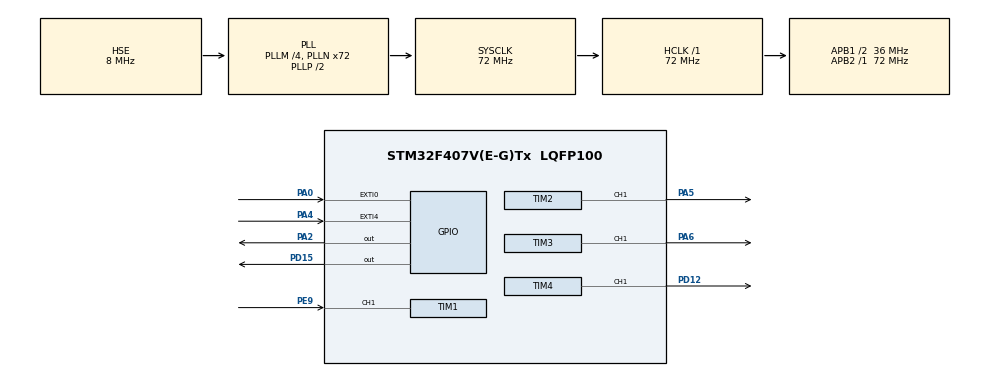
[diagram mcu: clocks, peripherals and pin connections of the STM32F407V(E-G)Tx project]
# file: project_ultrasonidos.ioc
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ADC1.Channel-0\#ChannelRegularConversion=ADC_CHANNEL_TEMPSENSOR
ADC1.ContinuousConvMode=ENABLE
ADC1.NbrOfConversionFlag=1
ADC1.Rank-0\#ChannelRegularConversion=1
ADC1.Resolution=ADC_RESOLUTION_8B
ADC1.SamplingTime-0\#ChannelRegularConversion=ADC_SAMPLETIME_3CYCLES
ADC1.ScanConvMode=ENABLE
ADC1.master=1
Mcu.Family=STM32F4
Mcu.Name=STM32F407V(E-G)Tx
Mcu.Package=LQFP100
NVIC.EXTI0_IRQn=true\:0\:0\:false\:false\:true\:true\:true
NVIC.EXTI4_IRQn=true\:0\:0\:false\:false\:true\:true\:true
NVIC.PriorityGroup=NVIC_PRIORITYGROUP_0
NVIC.TIM1_CC_IRQn=true\:0\:0\:false\:false\:true\:true\:true
PA0-WKUP.Signal=GPXTI0
PA2.Signal=GPIO_Output
PA4.Signal=GPXTI4
PA5.Signal=S_TIM2_CH1_ETR
PA6.Signal=S_TIM3_CH1
PD12.Signal=S_TIM4_CH1
PD15.Signal=GPIO_Output
PE9.Signal=S_TIM1_CH1
PH0-OSC_IN.Mode=HSE-External-Oscillator
PH0-OSC_IN.Signal=RCC_OSC_IN
PH1-OSC_OUT.Mode=HSE-External-Oscillator
PH1-OSC_OUT.Signal=RCC_OSC_OUT
ProjectManager.HeapSize=0x200
ProjectManager.StackSize=0x400
ProjectManager.TargetToolchain=STM32CubeIDE
RCC.48MHZClocksFreq_Value=20571428.57142857
RCC.AHBFreq_Value=72000000
RCC.APB1CLKDivider=RCC_HCLK_DIV2
RCC.APB1Freq_Value=36000000
RCC.APB1TimFreq_Value=72000000
RCC.APB2Freq_Value=72000000
RCC.APB2TimFreq_Value=72000000
RCC.CortexFreq_Value=72000000
RCC.HCLKFreq_Value=72000000
RCC.HSE_VALUE=8000000
RCC.HSI_VALUE=16000000
RCC.LSE_VALUE=32768
RCC.PLLM=4
RCC.PLLN=72
RCC.PLLQ=7
RCC.PLLSourceVirtual=RCC_PLLSOURCE_HSE
RCC.SYSCLKFreq_VALUE=72000000
RCC.SYSCLKSource=RCC_SYSCLKSOURCE_PLLCLK
RCC.VCOOutputFreq_Value=144000000
SH.S_TIM1_CH1.0=TIM1_CH1,Input_Capture1_from_TI1
SH.S_TIM2_CH1_ETR.0=TIM2_CH1,PWM Generation1 CH1
SH.S_TIM3_CH1.0=TIM3_CH1,PWM Generation1 CH1
SH.S_TIM4_CH1.0=TIM4_CH1,PWM Generation1 CH1
TIM1.Channel-Input_Capture1_from_TI1=TIM_CHANNEL_1
TIM1.Period=20000-1
TIM1.Prescaler=72-1
TIM2.Channel-PWM\ Generation1\ CH1=TIM_CHANNEL_1
TIM2.Period=3922
TIM2.Prescaler=72-1
TIM3.Channel-PWM\ Generation1\ CH1=TIM_CHANNEL_1
TIM3.Period=3922
TIM3.Prescaler=72-1
TIM4.Channel-PWM\ Generation1\ CH1=TIM_CHANNEL_1
TIM4.Period=3922
TIM4.Prescaler=72-1
TIM4.Pulse-PWM\ Generation1\ CH1=0
VP_ADC1_TempSens_Input.Mode=IN-TempSens
VP_TIM2_VS_ClockSourceINT.Mode=Internal
VP_TIM3_VS_ClockSourceINT.Mode=Internal
VP_TIM4_VS_ClockSourceINT.Mode=Internal
board=STM32F407G-DISC1

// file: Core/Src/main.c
/* USER CODE BEGIN Header */
/**
  ******************************************************************************
  * @file           : main.c
  * @brief          : Main program body
  ******************************************************************************
  * @attention
  *
  * Copyright (c) 2021 STMicroelectronics.
  * All rights reserved.
  *
  * This software is licensed under terms that can be found in the LICENSE file
  * in the root directory of this software component.
  * If no LICENSE file comes with this software, it is provided AS-IS.
  *
  ******************************************************************************
  */
/* USER CODE END Header */
#include "main.h"

ADC_HandleTypeDef hadc1;

TIM_HandleTypeDef htim1;
TIM_HandleTypeDef htim2;
TIM_HandleTypeDef htim3;
TIM_HandleTypeDef htim4;

void SystemClock_Config(void);
static void MX_GPIO_Init(void);
static void MX_TIM1_Init(void);
static void MX_TIM4_Init(void);
static void MX_TIM2_Init(void);
static void MX_TIM3_Init(void);
static void MX_ADC1_Init(void);

/* USER CODE BEGIN 0 */

void delay (uint16_t time) //función para hacer el delay en el ultrasonidos. Cambiar por hilos????
{
	__HAL_TIM_SET_COUNTER(&htim1, 0);
	while (__HAL_TIM_GET_COUNTER (&htim1) < time);
}

uint32_t IC_Val1 = 0;
uint32_t IC_Val2 = 0;
uint32_t Difference = 0;
uint8_t Is_First_Captured = 0;  // is the first value captured ?
uint8_t Distance  = 0;
uint32_t ton=0;
int encendido=0;

volatile uint32_t adcvalue;
float temp=0;

volatile int user=0,boton1=0;

int debouncer(volatile int* button, GPIO_TypeDef* GPIO_port, uint16_t GPIO_number){//Antirrebotes
	static uint8_t cb=0; //variable para llevar la cuenta del boton
	static int cuenta=0;

	if (*button==1){
		if (cb==0) {
			cuenta=HAL_GetTick();
			cb++;
		}
		if (HAL_GetTick()-cuenta>=20){
			cuenta=HAL_GetTick();
			if (HAL_GPIO_ReadPin(GPIO_port, GPIO_number)!=1){
				cb=1;
			}
			else{
				cb++;
			}
			if (cb==3){
				cb=0;
				*button=0;
				return 1;
			}
		}

	}
	return 0;
}

void HAL_GPIO_EXTI_Callback(uint16_t GPIO_pin)
{
	if(GPIO_pin==GPIO_PIN_4)//boton simulado con pines
	{
		boton1=1;
	}

	if(GPIO_pin==GPIO_PIN_0){//boton simulado con el user
		user=1;
	}
}

//funcion codigo video ultrasonidos.
void HAL_TIM_IC_CaptureCallback(TIM_HandleTypeDef *htim) {
	if (htim->Channel == HAL_TIM_ACTIVE_CHANNEL_1)
	{
		if (Is_First_Captured==0)
		{
			IC_Val1 = HAL_TIM_ReadCapturedValue(htim, TIM_CHANNEL_1); //lee el primer valor
			Is_First_Captured = 1;  // selecciona la primera captura
			__HAL_TIM_SET_CAPTUREPOLARITY(htim, TIM_CHANNEL_1, TIM_INPUTCHANNELPOLARITY_FALLING);
		}

		else if (Is_First_Captured==1)   // si ha leido el primer valor
		{
			IC_Val2 = HAL_TIM_ReadCapturedValue(htim, TIM_CHANNEL_1);  // lee el segundo valor
			__HAL_TIM_SET_COUNTER(htim, 0);  // reset the counter

			if (IC_Val2 > IC_Val1)
			{
				Difference = IC_Val2-IC_Val1;
			}

			else if (IC_Val1 > IC_Val2)
			{
				Difference = (0xffff - IC_Val1) + IC_Val2;
			}

			Distance = Difference * .034/2;//conversion a centimetros
			Is_First_Captured = 0;
			__HAL_TIM_SET_CAPTUREPOLARITY(htim, TIM_CHANNEL_1, TIM_INPUTCHANNELPOLARITY_RISING);
			__HAL_TIM_DISABLE_IT(&htim1, TIM_IT_CC1);
		}
	}
}

void HCSR04_Read (void) //Función de lectura del ultrasonidos
{
	HAL_GPIO_WritePin(GPIOA, GPIO_PIN_2, GPIO_PIN_SET); //Se envia pulso a la patilla trig del ultrasonidos
	delay(5);
	HAL_GPIO_WritePin(GPIOA, GPIO_PIN_2, GPIO_PIN_RESET);

	__HAL_TIM_ENABLE_IT(&htim1, TIM_IT_CC1);
}

void HAL_ADC_ConvCpltCallback(ADC_HandleTypeDef*hadc);

/* USER CODE END 0 */

int main(void)
{

  /* MCU Configuration--------------------------------------------------------*/

  /* Reset of all peripherals, Initializes the Flash interface and the Systick. */
  HAL_Init();

  /* Configure the system clock */
  SystemClock_Config();

  /* Initialize all configured peripherals */
  MX_GPIO_Init();
  MX_TIM1_Init();
  MX_TIM4_Init();
  MX_TIM2_Init();
  MX_TIM3_Init();
  MX_ADC1_Init();
  /* USER CODE BEGIN 2 */

  HAL_TIM_IC_Start_IT(&htim1, TIM_CHANNEL_1);
  HAL_TIM_PWM_Start(&htim4, TIM_CHANNEL_1);
  HAL_TIM_PWM_Start(&htim2,TIM_CHANNEL_1);
  HAL_TIM_PWM_Start(&htim3,TIM_CHANNEL_1);
  HAL_ADC_Start(&hadc1);

  /* USER CODE END 2 */

  /* Infinite loop */
  while (1)
  {

    /* USER CODE BEGIN 3 */
	  /*HCSR04_Read();
	  if(Distance<10)
	  {
		  HAL_GPIO_WritePin(GPIOD, GPIO_PIN_12, GPIO_PIN_SET);
		  HAL_Delay(10000);
		  HAL_GPIO_WritePin(GPIOD, GPIO_PIN_12, GPIO_PIN_RESET);
		  HAL_Delay(1000);
	  }
	  HAL_Delay(200);*/

	  HCSR04_Read(); //Se lee el valor del ultrasonidos
	  	HAL_Delay(100);

	  	if(HAL_GetTick()<1)//Encendemos led verde de primeras
	  	{
	  		__HAL_TIM_SET_COMPARE(&htim2, TIM_CHANNEL_1, 500);
	  	}

	  	//Si la distancia es menor que 15 centimetros apagamos led de emergencia y se encienden luces
	  	if(Distance<15)
	  	{
	  		ton=HAL_GetTick();
	  		__HAL_TIM_SET_COMPARE(&htim2, TIM_CHANNEL_1, 0);
	  		__HAL_TIM_SET_COMPARE(&htim4, TIM_CHANNEL_1, 500);
	  		__HAL_TIM_SET_COMPARE(&htim3, TIM_CHANNEL_1, 500);
	  		encendido=1;
	  	}

	  	if(encendido==1)
	  	{
	  		if(HAL_GetTick()-ton>15000||(debouncer(boton1,GPIOA,GPIO_PIN_4))==1){ //si pasan 15 s o pulso el botón, apago luces y enciendo emergencia
	  		__HAL_TIM_SET_COMPARE(&htim4, TIM_CHANNEL_1, 0);
	  		__HAL_TIM_SET_COMPARE(&htim3, TIM_CHANNEL_1, 0);
	  		ton=0;
	  		encendido=0;
	  		__HAL_TIM_SET_COMPARE(&htim2, TIM_CHANNEL_1, 500);
	  		}
	  	}

	  	if((debouncer(&user,GPIOA,GPIO_PIN_0))==1)
	  	{
	  		__HAL_TIM_SET_COMPARE(&htim2, TIM_CHANNEL_1, 0);
	  		__HAL_TIM_SET_COMPARE(&htim4, TIM_CHANNEL_1, 500);
	  		__HAL_TIM_SET_COMPARE(&htim3, TIM_CHANNEL_1, 500);
	  		ton=HAL_GetTick();
	  		encendido=1;
	  	}

	  	if(HAL_ADC_PollForConversion(&hadc1, 100) == HAL_OK)
	  	{
	  		adcvalue=HAL_ADC_GetValue(&hadc1);
	  		temp=1650.0/((float)adcvalue);
	  	}
	  	if(temp<30)
	  		HAL_GPIO_WritePin(GPIOD, GPIO_PIN_15,1);
	  	else
	  		HAL_GPIO_WritePin(GPIOD, GPIO_PIN_15,0);
  }

  /* USER CODE END 3 */
}

void SystemClock_Config(void)
{
  RCC_OscInitTypeDef RCC_OscInitStruct = {0};
  RCC_ClkInitTypeDef RCC_ClkInitStruct = {0};

  /** Configure the main internal regulator output voltage
  */
  __HAL_RCC_PWR_CLK_ENABLE();
  __HAL_PWR_VOLTAGESCALING_CONFIG(PWR_REGULATOR_VOLTAGE_SCALE1);
  /** Initializes the RCC Oscillators according to the specified parameters
  * in the RCC_OscInitTypeDef structure.
  */
  RCC_OscInitStruct.OscillatorType = RCC_OSCILLATORTYPE_HSE;
  RCC_OscInitStruct.HSEState = RCC_HSE_ON;
  RCC_OscInitStruct.PLL.PLLState = RCC_PLL_ON;
  RCC_OscInitStruct.PLL.PLLSource = RCC_PLLSOURCE_HSE;
  RCC_OscInitStruct.PLL.PLLM = 4;
  RCC_OscInitStruct.PLL.PLLN = 72;
  RCC_OscInitStruct.PLL.PLLP = RCC_PLLP_DIV2;
  RCC_OscInitStruct.PLL.PLLQ = 7;
  if (HAL_RCC_OscConfig(&RCC_OscInitStruct) != HAL_OK)
  {
    Error_Handler();
  }
  /** Initializes the CPU, AHB and APB buses clocks
  */
  RCC_ClkInitStruct.ClockType = RCC_CLOCKTYPE_HCLK|RCC_CLOCKTYPE_SYSCLK
                              |RCC_CLOCKTYPE_PCLK1|RCC_CLOCKTYPE_PCLK2;
  RCC_ClkInitStruct.SYSCLKSource = RCC_SYSCLKSOURCE_PLLCLK;
  RCC_ClkInitStruct.AHBCLKDivider = RCC_SYSCLK_DIV1;
  RCC_ClkInitStruct.APB1CLKDivider = RCC_HCLK_DIV2;
  RCC_ClkInitStruct.APB2CLKDivider = RCC_HCLK_DIV1;

  if (HAL_RCC_ClockConfig(&RCC_ClkInitStruct, FLASH_LATENCY_2) != HAL_OK)
  {
    Error_Handler();
  }
}

static void MX_ADC1_Init(void)
{

  ADC_ChannelConfTypeDef sConfig = {0};

  /** Configure the global features of the ADC (Clock, Resolution, Data Alignment and number of conversion)
  */
  hadc1.Instance = ADC1;
  hadc1.Init.ClockPrescaler = ADC_CLOCK_SYNC_PCLK_DIV2;
  hadc1.Init.Resolution = ADC_RESOLUTION_8B;
  hadc1.Init.ScanConvMode = ENABLE;
  hadc1.Init.ContinuousConvMode = ENABLE;
  hadc1.Init.DiscontinuousConvMode = DISABLE;
  hadc1.Init.ExternalTrigConvEdge = ADC_EXTERNALTRIGCONVEDGE_NONE;
  hadc1.Init.ExternalTrigConv = ADC_SOFTWARE_START;
  hadc1.Init.DataAlign = ADC_DATAALIGN_RIGHT;
  hadc1.Init.NbrOfConversion = 1;
  hadc1.Init.DMAContinuousRequests = DISABLE;
  hadc1.Init.EOCSelection = ADC_EOC_SINGLE_CONV;
  if (HAL_ADC_Init(&hadc1) != HAL_OK)
  {
    Error_Handler();
  }
  /** Configure for the selected ADC regular channel its corresponding rank in the sequencer and its sample time.
  */
  sConfig.Channel = ADC_CHANNEL_TEMPSENSOR;
  sConfig.Rank = 1;
  sConfig.SamplingTime = ADC_SAMPLETIME_3CYCLES;
  if (HAL_ADC_ConfigChannel(&hadc1, &sConfig) != HAL_OK)
  {
    Error_Handler();
  }

}

static void MX_TIM1_Init(void)
{

  TIM_MasterConfigTypeDef sMasterConfig = {0};
  TIM_IC_InitTypeDef sConfigIC = {0};

  htim1.Instance = TIM1;
  htim1.Init.Prescaler = 72-1;
  htim1.Init.CounterMode = TIM_COUNTERMODE_UP;
  htim1.Init.Period = 20000-1;
  htim1.Init.ClockDivision = TIM_CLOCKDIVISION_DIV1;
  htim1.Init.RepetitionCounter = 0;
  htim1.Init.AutoReloadPreload = TIM_AUTORELOAD_PRELOAD_DISABLE;
  if (HAL_TIM_IC_Init(&htim1) != HAL_OK)
  {
    Error_Handler();
  }
  sMasterConfig.MasterOutputTrigger = TIM_TRGO_RESET;
  sMasterConfig.MasterSlaveMode = TIM_MASTERSLAVEMODE_DISABLE;
  if (HAL_TIMEx_MasterConfigSynchronization(&htim1, &sMasterConfig) != HAL_OK)
  {
    Error_Handler();
  }
  sConfigIC.ICPolarity = TIM_INPUTCHANNELPOLARITY_RISING;
  sConfigIC.ICSelection = TIM_ICSELECTION_DIRECTTI;
  sConfigIC.ICPrescaler = TIM_ICPSC_DIV1;
  sConfigIC.ICFilter = 0;
  if (HAL_TIM_IC_ConfigChannel(&htim1, &sConfigIC, TIM_CHANNEL_1) != HAL_OK)
  {
    Error_Handler();
  }

}

static void MX_TIM2_Init(void)
{

  TIM_ClockConfigTypeDef sClockSourceConfig = {0};
  TIM_MasterConfigTypeDef sMasterConfig = {0};
  TIM_OC_InitTypeDef sConfigOC = {0};

  htim2.Instance = TIM2;
  htim2.Init.Prescaler = 72-1;
  htim2.Init.CounterMode = TIM_COUNTERMODE_UP;
  htim2.Init.Period = 3922;
  htim2.Init.ClockDivision = TIM_CLOCKDIVISION_DIV1;
  htim2.Init.AutoReloadPreload = TIM_AUTORELOAD_PRELOAD_DISABLE;
  if (HAL_TIM_Base_Init(&htim2) != HAL_OK)
  {
    Error_Handler();
  }
  sClockSourceConfig.ClockSource = TIM_CLOCKSOURCE_INTERNAL;
  if (HAL_TIM_ConfigClockSource(&htim2, &sClockSourceConfig) != HAL_OK)
  {
    Error_Handler();
  }
  if (HAL_TIM_PWM_Init(&htim2) != HAL_OK)
  {
    Error_Handler();
  }
  sMasterConfig.MasterOutputTrigger = TIM_TRGO_RESET;
  sMasterConfig.MasterSlaveMode = TIM_MASTERSLAVEMODE_DISABLE;
  if (HAL_TIMEx_MasterConfigSynchronization(&htim2, &sMasterConfig) != HAL_OK)
  {
    Error_Handler();
  }
  sConfigOC.OCMode = TIM_OCMODE_PWM1;
  sConfigOC.Pulse = 0;
  sConfigOC.OCPolarity = TIM_OCPOLARITY_HIGH;
  sConfigOC.OCFastMode = TIM_OCFAST_DISABLE;
  if (HAL_TIM_PWM_ConfigChannel(&htim2, &sConfigOC, TIM_CHANNEL_1) != HAL_OK)
  {
    Error_Handler();
  }
  HAL_TIM_MspPostInit(&htim2);

}

static void MX_TIM3_Init(void)
{

  TIM_ClockConfigTypeDef sClockSourceConfig = {0};
  TIM_MasterConfigTypeDef sMasterConfig = {0};
  TIM_OC_InitTypeDef sConfigOC = {0};

  htim3.Instance = TIM3;
  htim3.Init.Prescaler = 72-1;
  htim3.Init.CounterMode = TIM_COUNTERMODE_UP;
  htim3.Init.Period = 3922;
  htim3.Init.ClockDivision = TIM_CLOCKDIVISION_DIV1;
  htim3.Init.AutoReloadPreload = TIM_AUTORELOAD_PRELOAD_DISABLE;
  if (HAL_TIM_Base_Init(&htim3) != HAL_OK)
  {
    Error_Handler();
  }
  sClockSourceConfig.ClockSource = TIM_CLOCKSOURCE_INTERNAL;
  if (HAL_TIM_ConfigClockSource(&htim3, &sClockSourceConfig) != HAL_OK)
  {
    Error_Handler();
  }
  if (HAL_TIM_PWM_Init(&htim3) != HAL_OK)
  {
    Error_Handler();
  }
  sMasterConfig.MasterOutputTrigger = TIM_TRGO_RESET;
  sMasterConfig.MasterSlaveMode = TIM_MASTERSLAVEMODE_DISABLE;
  if (HAL_TIMEx_MasterConfigSynchronization(&htim3, &sMasterConfig) != HAL_OK)
  {
    Error_Handler();
  }
  sConfigOC.OCMode = TIM_OCMODE_PWM1;
  sConfigOC.Pulse = 0;
  sConfigOC.OCPolarity = TIM_OCPOLARITY_HIGH;
  sConfigOC.OCFastMode = TIM_OCFAST_DISABLE;
  if (HAL_TIM_PWM_ConfigChannel(&htim3, &sConfigOC, TIM_CHANNEL_1) != HAL_OK)
  {
    Error_Handler();
  }
  HAL_TIM_MspPostInit(&htim3);

}

static void MX_TIM4_Init(void)
{

  TIM_ClockConfigTypeDef sClockSourceConfig = {0};
  TIM_MasterConfigTypeDef sMasterConfig = {0};
  TIM_OC_InitTypeDef sConfigOC = {0};

  htim4.Instance = TIM4;
  htim4.Init.Prescaler = 72-1;
  htim4.Init.CounterMode = TIM_COUNTERMODE_UP;
  htim4.Init.Period = 3922;
  htim4.Init.ClockDivision = TIM_CLOCKDIVISION_DIV1;
  htim4.Init.AutoReloadPreload = TIM_AUTORELOAD_PRELOAD_DISABLE;
  if (HAL_TIM_Base_Init(&htim4) != HAL_OK)
  {
    Error_Handler();
  }
  sClockSourceConfig.ClockSource = TIM_CLOCKSOURCE_INTERNAL;
  if (HAL_TIM_ConfigClockSource(&htim4, &sClockSourceConfig) != HAL_OK)
  {
    Error_Handler();
  }
  if (HAL_TIM_PWM_Init(&htim4) != HAL_OK)
  {
    Error_Handler();
  }
  sMasterConfig.MasterOutputTrigger = TIM_TRGO_RESET;
  sMasterConfig.MasterSlaveMode = TIM_MASTERSLAVEMODE_DISABLE;
  if (HAL_TIMEx_MasterConfigSynchronization(&htim4, &sMasterConfig) != HAL_OK)
  {
    Error_Handler();
  }
  sConfigOC.OCMode = TIM_OCMODE_PWM1;
  sConfigOC.Pulse = 0;
  sConfigOC.OCPolarity = TIM_OCPOLARITY_HIGH;
  sConfigOC.OCFastMode = TIM_OCFAST_DISABLE;
  if (HAL_TIM_PWM_ConfigChannel(&htim4, &sConfigOC, TIM_CHANNEL_1) != HAL_OK)
  {
    Error_Handler();
  }
  HAL_TIM_MspPostInit(&htim4);

}

static void MX_GPIO_Init(void)
{
  GPIO_InitTypeDef GPIO_InitStruct = {0};

  /* GPIO Ports Clock Enable */
  __HAL_RCC_GPIOH_CLK_ENABLE();
  __HAL_RCC_GPIOA_CLK_ENABLE();
  __HAL_RCC_GPIOE_CLK_ENABLE();
  __HAL_RCC_GPIOD_CLK_ENABLE();

  /*Configure GPIO pin Output Level */
  HAL_GPIO_WritePin(GPIOA, GPIO_PIN_2, GPIO_PIN_RESET);

  /*Configure GPIO pin Output Level */
  HAL_GPIO_WritePin(GPIOD, GPIO_PIN_15, GPIO_PIN_RESET);

  /*Configure GPIO pins : PA0 PA4 */
  GPIO_InitStruct.Pin = GPIO_PIN_0|GPIO_PIN_4;
  GPIO_InitStruct.Mode = GPIO_MODE_IT_RISING;
  GPIO_InitStruct.Pull = GPIO_NOPULL;
  HAL_GPIO_Init(GPIOA, &GPIO_InitStruct);

  /*Configure GPIO pin : PA2 */
  GPIO_InitStruct.Pin = GPIO_PIN_2;
  GPIO_InitStruct.Mode = GPIO_MODE_OUTPUT_PP;
  GPIO_InitStruct.Pull = GPIO_NOPULL;
  GPIO_InitStruct.Speed = GPIO_SPEED_FREQ_LOW;
  HAL_GPIO_Init(GPIOA, &GPIO_InitStruct);

  /*Configure GPIO pin : PD15 */
  GPIO_InitStruct.Pin = GPIO_PIN_15;
  GPIO_InitStruct.Mode = GPIO_MODE_OUTPUT_PP;
  GPIO_InitStruct.Pull = GPIO_NOPULL;
  GPIO_InitStruct.Speed = GPIO_SPEED_FREQ_LOW;
  HAL_GPIO_Init(GPIOD, &GPIO_InitStruct);

  /* EXTI interrupt init*/
  HAL_NVIC_SetPriority(EXTI0_IRQn, 0, 0);
  HAL_NVIC_EnableIRQ(EXTI0_IRQn);

  HAL_NVIC_SetPriority(EXTI4_IRQn, 0, 0);
  HAL_NVIC_EnableIRQ(EXTI4_IRQn);

}

void Error_Handler(void)
{
  __disable_irq();
  while (1)
  {
  }
}
